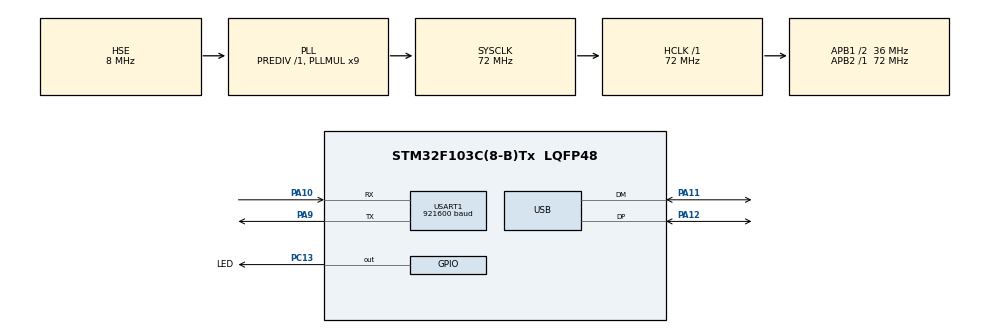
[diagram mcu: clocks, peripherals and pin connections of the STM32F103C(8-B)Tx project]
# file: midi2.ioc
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Mcu.Family=STM32F1
Mcu.Name=STM32F103C(8-B)Tx
Mcu.Package=LQFP48
NVIC.PriorityGroup=NVIC_PRIORITYGROUP_4
PA10.Mode=Asynchronous
PA10.Signal=USART1_RX
PA11.Mode=Device
PA11.Signal=USB_DM
PA12.Mode=Device
PA12.Signal=USB_DP
PA13.Mode=Serial_Wire
PA13.Signal=SYS_JTMS-SWDIO
PA14.Mode=Serial_Wire
PA14.Signal=SYS_JTCK-SWCLK
PA9.Mode=Asynchronous
PA9.Signal=USART1_TX
PC13-TAMPER-RTC.GPIO_Label=LED
PC13-TAMPER-RTC.Signal=GPIO_Output
PD0-OSC_IN.Mode=HSE-External-Oscillator
PD0-OSC_IN.Signal=RCC_OSC_IN
PD1-OSC_OUT.Mode=HSE-External-Oscillator
PD1-OSC_OUT.Signal=RCC_OSC_OUT
ProjectManager.HeapSize=0x200
ProjectManager.StackSize=0x400
ProjectManager.TargetToolchain=STM32CubeIDE
RCC.AHBFreq_Value=72000000
RCC.APB1CLKDivider=RCC_HCLK_DIV2
RCC.APB1Freq_Value=36000000
RCC.APB1TimFreq_Value=72000000
RCC.APB2Freq_Value=72000000
RCC.APB2TimFreq_Value=72000000
RCC.HCLKFreq_Value=72000000
RCC.PLLMUL=RCC_PLL_MUL9
RCC.SYSCLKFreq_VALUE=72000000
RCC.SYSCLKSource=RCC_SYSCLKSOURCE_PLLCLK
RCC.USBFreq_Value=48000000
RCC.USBPrescaler=RCC_USBCLKSOURCE_PLL_DIV1_5
USART1.BaudRate=921600
USART1.VirtualMode=VM_ASYNC
board=custom

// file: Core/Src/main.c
/* USER CODE BEGIN Header */
/**
 ******************************************************************************
 * @file           : main.c
 * @brief          : Main program body
 ******************************************************************************
 * @attention
 *
 * Copyright (c) 2022 STMicroelectronics.
 * All rights reserved.
 *
 * This software is licensed under terms that can be found in the LICENSE file
 * in the root directory of this software component.
 * If no LICENSE file comes with this software, it is provided AS-IS.
 *
 ******************************************************************************
 */
/* USER CODE END Header */
#include "main.h"

/* USER CODE BEGIN Includes */
#include <stdio.h>
#include "usb_device.h"
/* USER CODE END Includes */

UART_HandleTypeDef huart1;

PCD_HandleTypeDef hpcd_USB_FS;

void SystemClock_Config(void);
static void MX_GPIO_Init(void);
static void MX_USART1_UART_Init(void);
static void MX_USB_PCD_Init(void);

/* USER CODE BEGIN 0 */

// Send printf to uart1
int _write(int fd, char *ptr, int len) {
    HAL_StatusTypeDef hstatus;

    if (fd == 1 || fd == 2) {
        hstatus = HAL_UART_Transmit(&huart1, (uint8_t*) ptr, len, HAL_MAX_DELAY);
        if (hstatus == HAL_OK)
            return len;
        else
            return -1;
    }
    return -1;
}

void USBD_MIDI_DataInHandler(uint8_t *usb_rx_buffer, uint8_t usb_rx_buffer_length) {

    uint8_t wire;
    uint8_t message;
    uint8_t channel;
    uint8_t messageByte1;
    uint8_t messageByte2;

    while (usb_rx_buffer_length && *usb_rx_buffer != 0x00) {
        wire = usb_rx_buffer[0] >> 4;
        message = usb_rx_buffer[1] >> 4;
        channel = usb_rx_buffer[1] & 0x0F;
        messageByte1 = usb_rx_buffer[2];
        messageByte2 = usb_rx_buffer[3];

        DBG("Got message wire = %d message = %d channel = %d byte1 = %d byte2 = %d", wire, message, channel, messageByte1, messageByte2);

        usb_rx_buffer += 4;
        usb_rx_buffer_length -= 4;
    }
}

/* USER CODE END 0 */

int main(void)
{

  /* MCU Configuration--------------------------------------------------------*/

  /* Reset of all peripherals, Initializes the Flash interface and the Systick. */
  HAL_Init();

  /* Configure the system clock */
  SystemClock_Config();

  /* Initialize all configured peripherals */
  MX_GPIO_Init();
  MX_USART1_UART_Init();
  /* USER CODE BEGIN 2 */

    MX_USB_DEVICE_Init();

    DBG("\n\n----------------\nStarting MIDItio");

  /* USER CODE END 2 */

  /* Infinite loop */
  /* USER CODE BEGIN WHILE */

    uint32_t now = 0, last_blink = 0, last_tick = 0;

    while (1) {

        now = HAL_GetTick();

        if (now - last_blink >= 500) {
            HAL_GPIO_TogglePin(LED_GPIO_Port, LED_Pin);
            last_blink = now;
        }

//        if (now - last_tick >= 1000) {
//            DBG("Tick %lu", now / 100);
//            last_tick = now;
//        }

    /* USER CODE END WHILE */

    }
}

void SystemClock_Config(void)
{
  RCC_OscInitTypeDef RCC_OscInitStruct = {0};
  RCC_ClkInitTypeDef RCC_ClkInitStruct = {0};
  RCC_PeriphCLKInitTypeDef PeriphClkInit = {0};

  /** Initializes the RCC Oscillators according to the specified parameters
  * in the RCC_OscInitTypeDef structure.
  */
  RCC_OscInitStruct.OscillatorType = RCC_OSCILLATORTYPE_HSE;
  RCC_OscInitStruct.HSEState = RCC_HSE_ON;
  RCC_OscInitStruct.HSEPredivValue = RCC_HSE_PREDIV_DIV1;
  RCC_OscInitStruct.HSIState = RCC_HSI_ON;
  RCC_OscInitStruct.PLL.PLLState = RCC_PLL_ON;
  RCC_OscInitStruct.PLL.PLLSource = RCC_PLLSOURCE_HSE;
  RCC_OscInitStruct.PLL.PLLMUL = RCC_PLL_MUL9;
  if (HAL_RCC_OscConfig(&RCC_OscInitStruct) != HAL_OK)
  {
    Error_Handler();
  }

  /** Initializes the CPU, AHB and APB buses clocks
  */
  RCC_ClkInitStruct.ClockType = RCC_CLOCKTYPE_HCLK|RCC_CLOCKTYPE_SYSCLK
                              |RCC_CLOCKTYPE_PCLK1|RCC_CLOCKTYPE_PCLK2;
  RCC_ClkInitStruct.SYSCLKSource = RCC_SYSCLKSOURCE_PLLCLK;
  RCC_ClkInitStruct.AHBCLKDivider = RCC_SYSCLK_DIV1;
  RCC_ClkInitStruct.APB1CLKDivider = RCC_HCLK_DIV2;
  RCC_ClkInitStruct.APB2CLKDivider = RCC_HCLK_DIV1;

  if (HAL_RCC_ClockConfig(&RCC_ClkInitStruct, FLASH_LATENCY_2) != HAL_OK)
  {
    Error_Handler();
  }
  PeriphClkInit.PeriphClockSelection = RCC_PERIPHCLK_USB;
  PeriphClkInit.UsbClockSelection = RCC_USBCLKSOURCE_PLL_DIV1_5;
  if (HAL_RCCEx_PeriphCLKConfig(&PeriphClkInit) != HAL_OK)
  {
    Error_Handler();
  }
}

static void MX_USART1_UART_Init(void)
{

  huart1.Instance = USART1;
  huart1.Init.BaudRate = 921600;
  huart1.Init.WordLength = UART_WORDLENGTH_8B;
  huart1.Init.StopBits = UART_STOPBITS_1;
  huart1.Init.Parity = UART_PARITY_NONE;
  huart1.Init.Mode = UART_MODE_TX_RX;
  huart1.Init.HwFlowCtl = UART_HWCONTROL_NONE;
  huart1.Init.OverSampling = UART_OVERSAMPLING_16;
  if (HAL_UART_Init(&huart1) != HAL_OK)
  {
    Error_Handler();
  }

}

static void MX_USB_PCD_Init(void)
{

  hpcd_USB_FS.Instance = USB;
  hpcd_USB_FS.Init.dev_endpoints = 8;
  hpcd_USB_FS.Init.speed = PCD_SPEED_FULL;
  hpcd_USB_FS.Init.low_power_enable = DISABLE;
  hpcd_USB_FS.Init.lpm_enable = DISABLE;
  hpcd_USB_FS.Init.battery_charging_enable = DISABLE;
  if (HAL_PCD_Init(&hpcd_USB_FS) != HAL_OK)
  {
    Error_Handler();
  }

}

static void MX_GPIO_Init(void)
{
  GPIO_InitTypeDef GPIO_InitStruct = {0};

  /* GPIO Ports Clock Enable */
  __HAL_RCC_GPIOC_CLK_ENABLE();
  __HAL_RCC_GPIOD_CLK_ENABLE();
  __HAL_RCC_GPIOA_CLK_ENABLE();

  /*Configure GPIO pin Output Level */
  HAL_GPIO_WritePin(LED_GPIO_Port, LED_Pin, GPIO_PIN_RESET);

  /*Configure GPIO pin : LED_Pin */
  GPIO_InitStruct.Pin = LED_Pin;
  GPIO_InitStruct.Mode = GPIO_MODE_OUTPUT_PP;
  GPIO_InitStruct.Pull = GPIO_NOPULL;
  GPIO_InitStruct.Speed = GPIO_SPEED_FREQ_LOW;
  HAL_GPIO_Init(LED_GPIO_Port, &GPIO_InitStruct);

}

void Error_Handler(void)
{
    __disable_irq();
    while (1) {
    }
}
